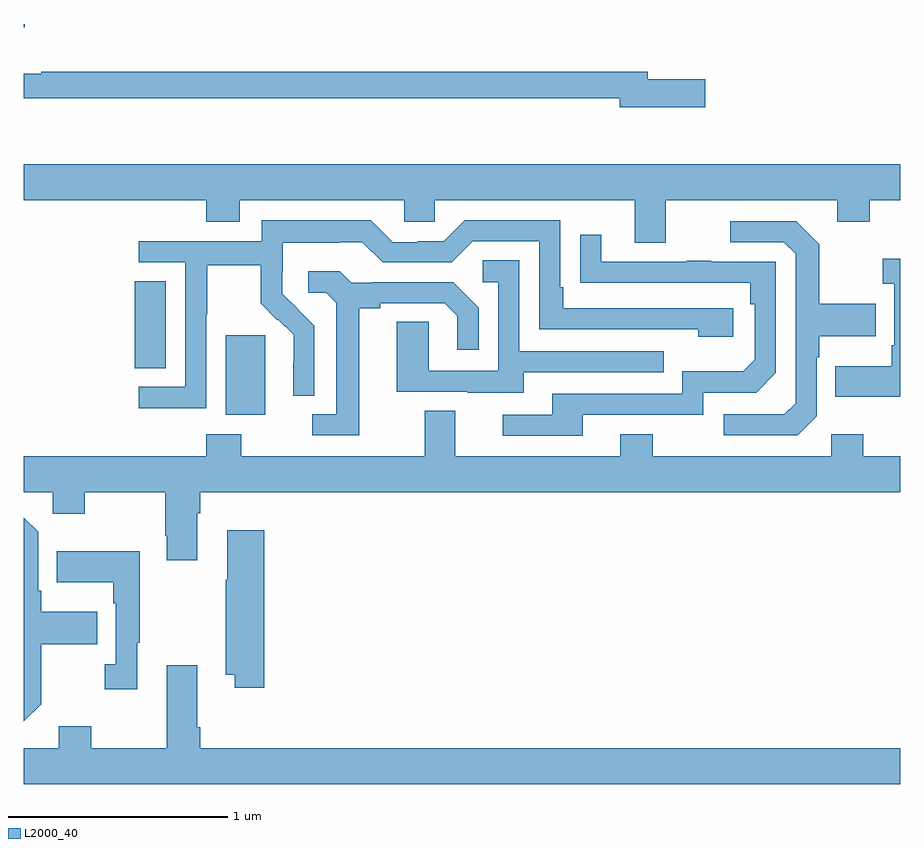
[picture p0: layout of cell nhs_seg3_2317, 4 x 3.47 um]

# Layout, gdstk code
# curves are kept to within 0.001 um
import gdstk
lib = gdstk.Library(unit=1e-6, precision=1e-09)
def R(c, l, rs):  # rectangles x0, y0, x1, y1
    for r in rs: c.add(gdstk.rectangle(r[:2], r[2:], *l))
def P(c, l, *ps):  # polygons
    for p in ps: c.add(gdstk.Polygon(p, *l))
L2000_40 = (2000, 40)

nhs_seg3_2317 = lib.new_cell('nhs_seg3_2317')
R(nhs_seg3_2317, L2000_40, [(231.923,686.618,232.102,686.979), (231.506,686.83,231.649,687.227), (231,688.386,231.005,688.4)])
P(nhs_seg3_2317, L2000_40, [(234.109,688.149),(233.848,688.149),(233.848,688.183),(231.08,688.183),(231.08,688.172),(231,688.172),(231,688.062),(233.72,688.062),(233.72,688.019),(234.109,688.019)],
  [(233.929,687.596),(234.713,687.596),(234.713,687.497),(234.861,687.497),(234.861,687.596),(235,687.596),(235,687.76),(231,687.76),(231,687.596),(231.833,687.596),(231.833,687.497),(231.985,687.497),(231.985,687.596),(232.737,687.596),(232.737,687.498),(232.875,687.498),(232.875,687.596),(233.789,687.596),(233.789,687.402),(233.929,687.402)],
  [(231.834,687.076),(231.837,687.076),(231.837,687.3),(232.081,687.3),(232.081,687.125),(232.158,687.048),(232.161,687.051),(232.232,686.981),(232.232,686.858),(232.23,686.858),(232.23,686.704),(232.326,686.704),(232.326,687.022),(232.18,687.17),(232.18,687.267),(232.182,687.267),(232.182,687.401),(232.445,687.401),(232.445,687.405),(232.545,687.405),(232.638,687.312),(232.953,687.312),(233.049,687.408),(233.352,687.408),(233.352,687.006),(234.077,687.006),(234.077,686.972),(234.238,686.972),(234.238,687.102),(233.461,687.102),(233.461,687.199),(233.448,687.199),(233.448,687.504),(233.013,687.504),(232.917,687.408),(232.799,687.408),(232.799,687.405),(232.683,687.405),(232.583,687.505),(232.086,687.505),(232.086,687.408),(231.525,687.408),(231.525,687.312),(231.738,687.312),(231.738,686.745),(231.525,686.745),(231.525,686.647),(231.834,686.647)],
  [(234.618,686.61),(234.618,686.879),(234.631,686.879),(234.631,686.975),(234.887,686.975),(234.887,687.123),(234.631,687.123),(234.631,687.395),(234.525,687.501),(234.225,687.501),(234.225,687.405),(234.468,687.405),(234.522,687.351),(234.522,686.67),(234.471,686.619),(234.195,686.619),(234.195,686.523),(234.531,686.523)],
  [(233.551,686.616),(234.102,686.616),(234.102,686.718),(234.342,686.718),(234.432,686.808),(234.432,687.315),(234.137,687.315),(234.137,687.32),(234.025,687.32),(234.025,687.315),(233.635,687.315),(233.635,687.439),(233.539,687.439),(233.539,687.22),(234.316,687.219),(234.316,687.122),(234.336,687.122),(234.336,686.868),(234.283,686.815),(234.006,686.815),(234.006,686.712),(233.411,686.712),(233.411,686.616),(233.187,686.616),(233.187,686.52),(233.551,686.52)],
  [(235,687.328),(234.921,687.328),(234.921,687.215),(234.972,687.215),(234.972,686.935),(234.96,686.935),(234.96,686.839),(234.703,686.839),(234.703,686.699),(235,686.699)],
  [(233.281,686.811),(233.921,686.811),(233.921,686.907),(233.262,686.907),(233.262,687.323),(233.094,687.323),(233.094,687.222),(233.166,687.222),(233.166,686.817),(232.848,686.817),(232.848,687.041),(232.703,687.041),(232.703,686.721),(233.027,686.721),(233.027,686.717),(233.281,686.717)],
  [(232.531,687.104),(232.627,687.104),(232.627,687.126),(232.922,687.126),(232.979,687.069),(232.979,686.913),(233.076,686.913),(233.076,687.106),(232.96,687.222),(232.588,687.222),(232.588,687.219),(232.494,687.219),(232.442,687.271),(232.299,687.271),(232.299,687.174),(232.38,687.174),(232.427,687.127),(232.427,686.619),(232.317,686.619),(232.317,686.523),(232.531,686.523)],
  [(231.793,686.168),(231.806,686.168),(231.806,686.264),(235,686.264),(235,686.428),(234.831,686.428),(234.831,686.527),(234.684,686.527),(234.684,686.428),(233.871,686.428),(233.871,686.527),(233.723,686.527),(233.723,686.428),(232.969,686.428),(232.969,686.636),(232.829,686.636),(232.829,686.428),(231.993,686.428),(231.993,686.527),(231.833,686.527),(231.833,686.428),(231,686.428),(231,686.264),(231.132,686.264),(231.132,686.165),(231.279,686.165),(231.279,686.264),(231.646,686.264),(231.646,686.065),(231.653,686.065),(231.653,685.953),(231.793,685.953)],
  [(231.079,685.297),(231.079,685.57),(231.335,685.57),(231.335,685.717),(231.079,685.717),(231.079,685.813),(231.066,685.813),(231.066,686.082),(231,686.148),(231,685.218)],
  [(232.097,686.089),(231.929,686.089),(231.929,685.865),(231.922,685.865),(231.922,685.43),(231.962,685.43),(231.962,685.371),(232.097,685.371)],
  [(231.517,685.577),(231.529,685.577),(231.529,685.993),(231.151,685.993),(231.151,685.853),(231.408,685.853),(231.408,685.757),(231.42,685.757),(231.42,685.478),(231.369,685.478),(231.369,685.365),(231.517,685.365)],
  [(235,685.096),(231.806,685.096),(231.806,685.192),(231.793,685.192),(231.793,685.474),(231.653,685.474),(231.653,685.096),(231.309,685.096),(231.309,685.195),(231.161,685.195),(231.161,685.096),(231,685.096),(231,684.932),(235,684.932)])

lib.write_gds('nhs_seg3_2317.gds')
